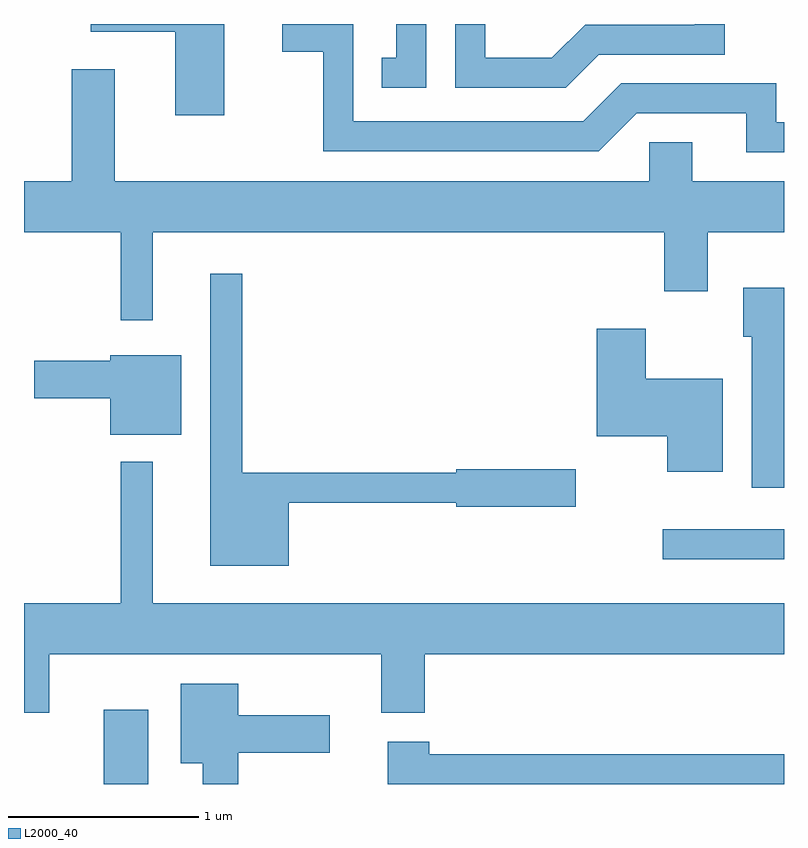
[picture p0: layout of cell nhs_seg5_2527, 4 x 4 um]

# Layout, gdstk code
import gdstk
lib = gdstk.Library(unit=1e-6, precision=1e-09)
def R(c, l, rs):  # rectangles x0, y0, x1, y1
    for r in rs: c.add(gdstk.rectangle(r[:2], r[2:], *l))
def P(c, l, *ps):  # polygons
    for p in ps: c.add(gdstk.Polygon(p, *l))
L2000_40 = (2000, 40)

nhs_seg5_2527 = lib.new_cell('nhs_seg5_2527')
R(nhs_seg5_2527, L2000_40, [(260.031,1496.072,260.264,1496.464), (262.973,1497.256,263.611,1497.414)])
P(nhs_seg5_2527, L2000_40, [(260.664,1500.072),(259.962,1500.072),(259.962,1500.031),(260.406,1500.031),(260.406,1499.591),(260.664,1499.591)],
  [(262.637,1499.911),(263.299,1499.911),(263.299,1500.072),(263.141,1500.072),(263.141,1500.069),(262.564,1500.069),(262.389,1499.894),(262.039,1499.894),(262.039,1500.072),(261.881,1500.072),(261.881,1499.736),(262.462,1499.736)],
  [(261.729,1500.072),(261.571,1500.072),(261.571,1499.894),(261.493,1499.894),(261.493,1499.736),(261.729,1499.736)],
  [(263.611,1499.554),(263.569,1499.554),(263.569,1499.759),(262.754,1499.759),(262.554,1499.559),(261.344,1499.559),(261.344,1500.072),(260.971,1500.072),(260.971,1499.926),(261.186,1499.926),(261.186,1499.401),(262.637,1499.401),(262.837,1499.601),(263.411,1499.601),(263.411,1499.396),(263.611,1499.396)],
  [(260.289,1498.976),(262.981,1498.976),(262.981,1498.666),(263.209,1498.666),(263.209,1498.976),(263.611,1498.976),(263.611,1499.244),(263.129,1499.244),(263.129,1499.449),(262.901,1499.449),(262.901,1499.244),(260.089,1499.244),(260.089,1499.834),(259.861,1499.834),(259.861,1499.244),(259.611,1499.244),(259.611,1498.976),(260.121,1498.976),(260.121,1498.513),(260.289,1498.513)],
  [(261.004,1497.551),(261.886,1497.551),(261.886,1497.531),(262.514,1497.531),(262.514,1497.729),(261.886,1497.729),(261.886,1497.709),(260.759,1497.709),(260.759,1498.758),(260.591,1498.758),(260.591,1497.221),(261.004,1497.221)],
  [(263.611,1498.684),(263.396,1498.684),(263.396,1498.426),(263.441,1498.426),(263.441,1497.631),(263.611,1497.631)],
  [(263.289,1498.204),(262.884,1498.204),(262.884,1498.469),(262.626,1498.469),(262.626,1497.901),(262.996,1497.901),(262.996,1497.716),(263.289,1497.716)],
  [(260.439,1498.329),(260.066,1498.329),(260.066,1498.299),(259.666,1498.299),(259.666,1498.101),(260.066,1498.101),(260.066,1497.911),(260.439,1497.911)],
  [(259.744,1496.756),(261.491,1496.756),(261.491,1496.446),(261.719,1496.446),(261.719,1496.756),(263.611,1496.756),(263.611,1497.024),(260.289,1497.024),(260.289,1497.768),(260.121,1497.768),(260.121,1497.024),(259.611,1497.024),(259.611,1496.446),(259.744,1496.446)],
  [(260.739,1496.236),(261.219,1496.236),(261.219,1496.434),(260.739,1496.434),(260.739,1496.599),(260.436,1496.599),(260.436,1496.181),(260.551,1496.181),(260.551,1496.072),(260.739,1496.072)],
  [(263.611,1496.229),(261.744,1496.229),(261.744,1496.294),(261.526,1496.294),(261.526,1496.072),(263.611,1496.072)])

lib.write_gds('nhs_seg5_2527.gds')
